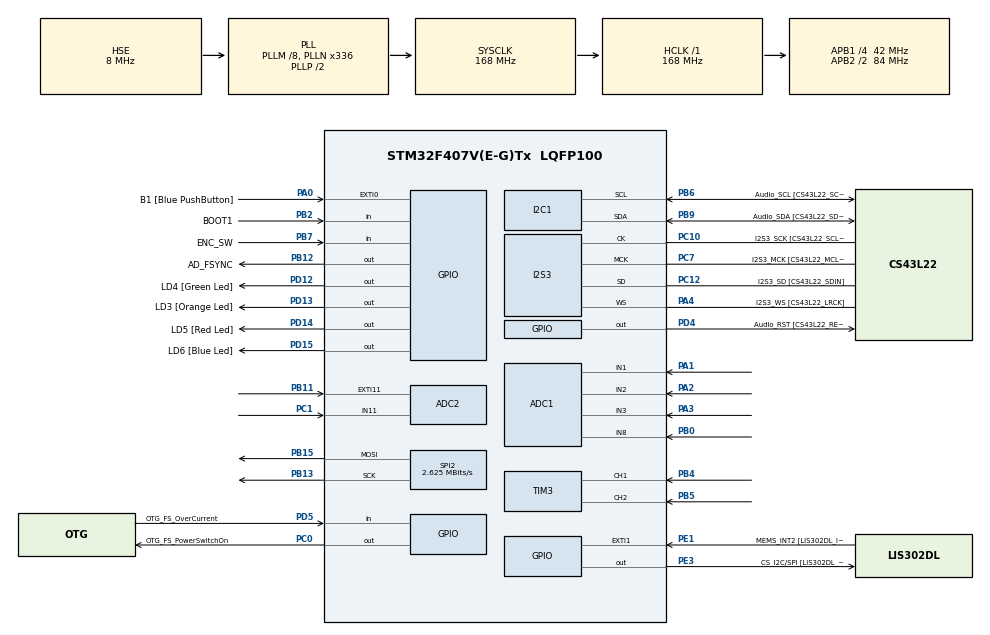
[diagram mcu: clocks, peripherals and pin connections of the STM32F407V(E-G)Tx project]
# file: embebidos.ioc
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ADC1.Channel-0\#ChannelRegularConversion=ADC_CHANNEL_1
ADC1.Channel-1\#ChannelRegularConversion=ADC_CHANNEL_2
ADC1.Channel-2\#ChannelRegularConversion=ADC_CHANNEL_3
ADC1.Channel-3\#ChannelRegularConversion=ADC_CHANNEL_8
ADC1.ContinuousConvMode=ENABLE
ADC1.DMAContinuousRequests=ENABLE
ADC1.DiscontinuousConvMode=DISABLE
ADC1.NbrOfConversion=4
ADC1.NbrOfConversionFlag=1
ADC1.Rank-0\#ChannelRegularConversion=1
ADC1.Rank-1\#ChannelRegularConversion=2
ADC1.Rank-2\#ChannelRegularConversion=3
ADC1.Rank-3\#ChannelRegularConversion=4
ADC1.SamplingTime-0\#ChannelRegularConversion=ADC_SAMPLETIME_144CYCLES
ADC1.SamplingTime-1\#ChannelRegularConversion=ADC_SAMPLETIME_144CYCLES
ADC1.SamplingTime-2\#ChannelRegularConversion=ADC_SAMPLETIME_144CYCLES
ADC1.SamplingTime-3\#ChannelRegularConversion=ADC_SAMPLETIME_144CYCLES
ADC1.ScanConvMode=ENABLE
ADC1.master=1
ADC2.Channel-0\#ChannelRegularConversion=ADC_CHANNEL_11
ADC2.DMAContinuousRequests=ENABLE
ADC2.NbrOfConversionFlag=1
ADC2.Rank-0\#ChannelRegularConversion=1
ADC2.SamplingTime-0\#ChannelRegularConversion=ADC_SAMPLETIME_56CYCLES
ADC2.ScanConvMode=DISABLE
Dma.ADC1.0.Direction=DMA_PERIPH_TO_MEMORY
Dma.ADC1.0.FIFOMode=DMA_FIFOMODE_DISABLE
Dma.ADC1.0.Instance=DMA2_Stream0
Dma.ADC1.0.MemDataAlignment=DMA_MDATAALIGN_HALFWORD
Dma.ADC1.0.MemInc=DMA_MINC_ENABLE
Dma.ADC1.0.Mode=DMA_CIRCULAR
Dma.ADC1.0.PeriphDataAlignment=DMA_PDATAALIGN_HALFWORD
Dma.ADC1.0.PeriphInc=DMA_PINC_DISABLE
Dma.ADC1.0.Priority=DMA_PRIORITY_LOW
Dma.ADC2.2.Direction=DMA_PERIPH_TO_MEMORY
Dma.ADC2.2.FIFOMode=DMA_FIFOMODE_DISABLE
Dma.ADC2.2.Instance=DMA2_Stream2
Dma.ADC2.2.MemDataAlignment=DMA_MDATAALIGN_HALFWORD
Dma.ADC2.2.MemInc=DMA_MINC_ENABLE
Dma.ADC2.2.Mode=DMA_CIRCULAR
Dma.ADC2.2.PeriphDataAlignment=DMA_PDATAALIGN_HALFWORD
Dma.ADC2.2.PeriphInc=DMA_PINC_DISABLE
Dma.ADC2.2.Priority=DMA_PRIORITY_LOW
Dma.Request0=ADC1
Dma.Request1=SPI3_TX
Dma.Request2=ADC2
Dma.SPI3_TX.1.Direction=DMA_MEMORY_TO_PERIPH
Dma.SPI3_TX.1.FIFOMode=DMA_FIFOMODE_DISABLE
Dma.SPI3_TX.1.Instance=DMA1_Stream5
Dma.SPI3_TX.1.MemDataAlignment=DMA_MDATAALIGN_HALFWORD
Dma.SPI3_TX.1.MemInc=DMA_MINC_ENABLE
Dma.SPI3_TX.1.Mode=DMA_CIRCULAR
Dma.SPI3_TX.1.PeriphDataAlignment=DMA_PDATAALIGN_HALFWORD
Dma.SPI3_TX.1.PeriphInc=DMA_PINC_DISABLE
Dma.SPI3_TX.1.Priority=DMA_PRIORITY_LOW
FREERTOS.Tasks01=defaultTask,24,512,StartDefaultTask,Default,NULL,Dynamic,NULL,NULL
I2S3.AudioFreq=I2S_AUDIOFREQ_48K
I2S3.ErrorAudioFreq=-2.34 %
I2S3.FullDuplexMode=I2S_FULLDUPLEXMODE_DISABLE
I2S3.Instance=SPI$Index
I2S3.RealAudioFreq=46.875 KHz
I2S3.VirtualMode=I2S_MODE_MASTER
Mcu.Family=STM32F4
Mcu.Name=STM32F407V(E-G)Tx
Mcu.Package=LQFP100
NVIC.DMA1_Stream5_IRQn=true\:5\:0\:false\:false\:true\:true\:false\:true\:true
NVIC.DMA2_Stream0_IRQn=true\:5\:0\:false\:false\:true\:true\:false\:true\:true
NVIC.DMA2_Stream2_IRQn=true\:5\:0\:false\:false\:true\:true\:false\:true\:true
NVIC.PriorityGroup=NVIC_PRIORITYGROUP_4
NVIC.TIM6_DAC_IRQn=true\:15\:0\:false\:false\:true\:false\:false\:true\:true
NVIC.TimeBase=TIM6_DAC_IRQn
NVIC.TimeBaseIP=TIM6
PA0-WKUP.GPIO_Label=B1 [Blue PushButton]
PA0-WKUP.Signal=GPXTI0
PA1.Signal=ADCx_IN1
PA10.GPIO_Label=OTG_FS_ID
PA10.GPIO_Mode=GPIO_MODE_AF_PP
PA10.GPIO_PuPd=GPIO_NOPULL
PA10.GPIO_Speed=GPIO_SPEED_FREQ_LOW
PA10.Signal=USB_OTG_FS_ID
PA11.GPIO_Label=OTG_FS_DM
PA11.GPIO_Mode=GPIO_MODE_AF_PP
PA11.GPIO_PuPd=GPIO_NOPULL
PA11.GPIO_Speed=GPIO_SPEED_FREQ_LOW
PA11.Signal=USB_OTG_FS_DM
PA12.GPIO_Label=OTG_FS_DP
PA12.GPIO_Mode=GPIO_MODE_AF_PP
PA12.GPIO_PuPd=GPIO_NOPULL
PA12.GPIO_Speed=GPIO_SPEED_FREQ_LOW
PA12.Signal=USB_OTG_FS_DP
PA13.GPIO_Label=SWDIO
PA13.Mode=Serial_Wire
PA13.Signal=SYS_JTMS-SWDIO
PA14.GPIO_Label=SWCLK
PA14.Mode=Serial_Wire
PA14.Signal=SYS_JTCK-SWCLK
PA2.Signal=ADCx_IN2
PA3.Signal=ADCx_IN3
PA4.GPIO_Label=I2S3_WS [CS43L22_LRCK]
PA4.GPIO_Mode=GPIO_MODE_AF_PP
PA4.GPIO_PuPd=GPIO_NOPULL
PA4.GPIO_Speed=GPIO_SPEED_FREQ_LOW
PA4.Mode=Half_Duplex_Master
PA4.Signal=I2S3_WS
PA5.GPIO_Label=SPI1_SCK [LIS302DL_SCL/SPC]
PA5.GPIO_Mode=GPIO_MODE_AF_PP
PA5.GPIO_PuPd=GPIO_NOPULL
PA5.GPIO_Speed=GPIO_SPEED_FREQ_LOW
PA5.Signal=SPI1_SCK
PA6.GPIO_Label=SPI1_MISO [LIS302DL_SDO]
PA6.GPIO_Mode=GPIO_MODE_AF_PP
PA6.GPIO_PuPd=GPIO_NOPULL
PA6.GPIO_Speed=GPIO_SPEED_FREQ_LOW
PA6.Signal=SPI1_MISO
PA7.GPIO_Label=SPI1_MOSI [LIS302DL_SDA/SDI/SDO]
PA7.GPIO_Mode=GPIO_MODE_AF_PP
PA7.GPIO_PuPd=GPIO_NOPULL
PA7.GPIO_Speed=GPIO_SPEED_FREQ_LOW
PA7.Signal=SPI1_MOSI
PA9.GPIO_Label=VBUS_FS
PA9.GPIO_Mode=GPIO_MODE_INPUT
PA9.GPIO_PuPd=GPIO_NOPULL
PA9.Signal=USB_OTG_FS_VBUS
PB0.Signal=ADCx_IN8
PB11.Signal=GPXTI11
PB12.GPIO_Label=AD_FSYNC
PB12.PinState=GPIO_PIN_SET
PB12.Signal=GPIO_Output
PB13.Mode=TX_Only_Simplex_Unidirect_Master
PB13.Signal=SPI2_SCK
PB15.Mode=TX_Only_Simplex_Unidirect_Master
PB15.Signal=SPI2_MOSI
PB2.GPIO_Label=BOOT1
PB2.GPIO_Mode=GPIO_MODE_INPUT
PB2.GPIO_PuPd=GPIO_NOPULL
PB2.Signal=GPIO_Input
PB3.GPIO_Label=SWO
PB3.Signal=SYS_JTDO-SWO
PB4.GPIO_PuPd=GPIO_PULLUP
PB4.Signal=S_TIM3_CH1
PB5.GPIO_PuPd=GPIO_PULLUP
PB5.Signal=S_TIM3_CH2
PB6.GPIO_Label=Audio_SCL [CS43L22_SCL]
PB6.GPIO_Mode=GPIO_MODE_AF_OD
PB6.GPIO_PuPd=GPIO_NOPULL
PB6.GPIO_Speed=GPIO_SPEED_FREQ_LOW
PB6.Mode=I2C
PB6.Signal=I2C1_SCL
PB7.GPIO_Label=ENC_SW
PB7.GPIO_PuPd=GPIO_PULLUP
PB7.Signal=GPIO_Input
PB9.GPIO_Label=Audio_SDA [CS43L22_SDA]
PB9.GPIO_Mode=GPIO_MODE_AF_OD
PB9.GPIO_PuPd=GPIO_NOPULL
PB9.GPIO_Speed=GPIO_SPEED_FREQ_LOW
PB9.Mode=I2C
PB9.Signal=I2C1_SDA
PC0.GPIO_Label=OTG_FS_PowerSwitchOn
PC0.GPIO_PuPd=GPIO_NOPULL
PC0.GPIO_Speed=GPIO_SPEED_FREQ_LOW
PC0.PinState=GPIO_PIN_SET
PC0.Signal=GPIO_Output
PC1.Signal=ADCx_IN11
PC10.GPIO_Label=I2S3_SCK [CS43L22_SCLK]
PC10.GPIO_Mode=GPIO_MODE_AF_PP
PC10.GPIO_PuPd=GPIO_NOPULL
PC10.GPIO_Speed=GPIO_SPEED_FREQ_LOW
PC10.Mode=Half_Duplex_Master
PC10.Signal=I2S3_CK
PC12.GPIO_Label=I2S3_SD [CS43L22_SDIN]
PC12.GPIO_Mode=GPIO_MODE_AF_PP
PC12.GPIO_PuPd=GPIO_NOPULL
PC12.GPIO_Speed=GPIO_SPEED_FREQ_LOW
PC12.Mode=Half_Duplex_Master
PC12.Signal=I2S3_SD
PC14-OSC32_IN.GPIO_Label=PC14-OSC32_IN
PC14-OSC32_IN.Signal=RCC_OSC32_IN
PC15-OSC32_OUT.GPIO_Label=PC15-OSC32_OUT
PC15-OSC32_OUT.Signal=RCC_OSC32_OUT
PC7.GPIO_Label=I2S3_MCK [CS43L22_MCLK]
PC7.GPIO_Mode=GPIO_MODE_AF_PP
PC7.GPIO_PuPd=GPIO_NOPULL
PC7.GPIO_Speed=GPIO_SPEED_FREQ_LOW
PC7.Mode=Master_Clock_Activated
PC7.Signal=I2S3_MCK
PD12.GPIO_Label=LD4 [Green Led]
PD12.GPIO_PuPd=GPIO_NOPULL
PD12.GPIO_Speed=GPIO_SPEED_FREQ_LOW
PD12.Signal=GPIO_Output
PD13.GPIO_Label=LD3 [Orange Led]
PD13.GPIO_PuPd=GPIO_NOPULL
PD13.GPIO_Speed=GPIO_SPEED_FREQ_LOW
PD13.Signal=GPIO_Output
PD14.GPIO_Label=LD5 [Red Led]
PD14.GPIO_PuPd=GPIO_NOPULL
PD14.GPIO_Speed=GPIO_SPEED_FREQ_LOW
PD14.Signal=GPIO_Output
PD15.GPIO_Label=LD6 [Blue Led]
PD15.GPIO_PuPd=GPIO_NOPULL
PD15.GPIO_Speed=GPIO_SPEED_FREQ_LOW
PD15.Signal=GPIO_Output
PD4.GPIO_Label=Audio_RST [CS43L22_RESET]
PD4.GPIO_PuPd=GPIO_NOPULL
PD4.GPIO_Speed=GPIO_SPEED_FREQ_LOW
PD4.Signal=GPIO_Output
PD5.GPIO_Label=OTG_FS_OverCurrent
PD5.GPIO_Mode=GPIO_MODE_INPUT
PD5.GPIO_PuPd=GPIO_NOPULL
PD5.Signal=GPIO_Input
PE1.GPIO_Label=MEMS_INT2 [LIS302DL_INT2]
PE1.GPIO_ModeDefaultEXTI=GPIO_MODE_EVT_RISING
PE1.GPIO_PuPd=GPIO_NOPULL
PE1.Signal=GPXTI1
PE3.GPIO_Label=CS_I2C/SPI [LIS302DL_CS_I2C/SPI]
PE3.GPIO_PuPd=GPIO_NOPULL
PE3.GPIO_Speed=GPIO_SPEED_FREQ_LOW
PE3.Signal=GPIO_Output
PH0-OSC_IN.GPIO_Label=PH0-OSC_IN
PH0-OSC_IN.Mode=HSE-External-Oscillator
PH0-OSC_IN.Signal=RCC_OSC_IN
PH1-OSC_OUT.GPIO_Label=PH1-OSC_OUT
PH1-OSC_OUT.Mode=HSE-External-Oscillator
PH1-OSC_OUT.Signal=RCC_OSC_OUT
ProjectManager.HeapSize=0x200
ProjectManager.StackSize=0x400
ProjectManager.TargetToolchain=CMake
RCC.48MHZClocksFreq_Value=48000000
RCC.AHBFreq_Value=168000000
RCC.APB1CLKDivider=RCC_HCLK_DIV4
RCC.APB1Freq_Value=42000000
RCC.APB1TimFreq_Value=84000000
RCC.APB2CLKDivider=RCC_HCLK_DIV2
RCC.APB2Freq_Value=84000000
RCC.APB2TimFreq_Value=168000000
RCC.CortexFreq_Value=168000000
RCC.HCLKFreq_Value=168000000
RCC.HSE_VALUE=8000000
RCC.HSI_VALUE=16000000
RCC.LSE_VALUE=32768
RCC.PLLM=8
RCC.PLLN=336
RCC.PLLQ=7
RCC.PLLSourceVirtual=RCC_PLLSOURCE_HSE
RCC.SYSCLKFreq_VALUE=168000000
RCC.SYSCLKSource=RCC_SYSCLKSOURCE_PLLCLK
RCC.VCOOutputFreq_Value=336000000
SH.ADCx_IN1.0=ADC1_IN1,IN1
SH.ADCx_IN11.0=ADC2_IN11,IN11
SH.ADCx_IN2.0=ADC1_IN2,IN2
SH.ADCx_IN3.0=ADC1_IN3,IN3
SH.ADCx_IN8.0=ADC1_IN8,IN8
SH.S_TIM3_CH1.0=TIM3_CH1,Encoder_Interface
SH.S_TIM3_CH2.0=TIM3_CH2,Encoder_Interface
SPI2.BaudRatePrescaler=SPI_BAUDRATEPRESCALER_16
SPI2.CLKPolarity=SPI_POLARITY_HIGH
SPI2.CalculateBaudRate=2.625 MBits/s
SPI2.DataSize=SPI_DATASIZE_16BIT
SPI2.Direction=SPI_DIRECTION_2LINES
SPI2.Mode=SPI_MODE_MASTER
SPI2.VirtualType=VM_MASTER
TIM3.EncoderMode=TIM_ENCODERMODE_TI12
TIM3.IC1Filter=10
TIM3.IC2Filter=10
VP_FREERTOS_VS_CMSIS_V2.Mode=CMSIS_V2
VP_SYS_VS_tim6.Mode=TIM6
board=STM32F407G-DISC1

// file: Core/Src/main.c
/* USER CODE BEGIN Header */
/**
  ******************************************************************************
  * @file           : main.c
  * @brief          : Main program body
  ******************************************************************************
  * @attention
  *
  * Copyright (c) 2026 STMicroelectronics.
  * All rights reserved.
  *
  * This software is licensed under terms that can be found in the LICENSE file
  * in the root directory of this software component.
  * If no LICENSE file comes with this software, it is provided AS-IS.
  *
  ******************************************************************************
  */
/* USER CODE END Header */
#include "main.h"
#include "cmsis_os.h"

/* USER CODE BEGIN Includes */
#include <math.h>

/* USER CODE END Includes */

/* USER CODE BEGIN PD */
#define AUDIO_FS     48000.0f    // frecuencia de muestreo
#define AUDIO_BLOCK  128         // frames estéreo por cada mitad del buffer
#define AUDIO_AMP    8000.0f     // amplitud (~25% de la escala de int16) para no saturar
#define TWO_PI       6.28318530718f
#define CS43L22_ADDR (0x4A << 1)
#define IN_GAIN      16.0f       // ganancia de la entrada: ~430 cuentas de amplitud → ~7000
/* USER CODE END PD */

ADC_HandleTypeDef hadc1;
ADC_HandleTypeDef hadc2;
DMA_HandleTypeDef hdma_adc1;
DMA_HandleTypeDef hdma_adc2;

I2C_HandleTypeDef hi2c1;

I2S_HandleTypeDef hi2s3;
DMA_HandleTypeDef hdma_spi3_tx;

SPI_HandleTypeDef hspi2;

TIM_HandleTypeDef htim3;

/* Definitions for defaultTask */
osThreadId_t defaultTaskHandle;
const osThreadAttr_t defaultTask_attributes = {
  .name = "defaultTask",
  .stack_size = 512 * 4,
  .priority = (osPriority_t) osPriorityNormal,
};
/* USER CODE BEGIN PV */
volatile uint16_t adc_in[AUDIO_BLOCK * 2];   // entrada mono: 2 mitades × 128 muestras
float in_dc = 500.0f;               // estimación del nivel DC de la entrada (cuentas del ADC)
//pq dentro de PV?
// global: el DMA escribe aquí continuamente, debe existir siempre (no en el stack)
// volatile: la modifica el hardware, el compilador no debe asumir que no cambia
volatile uint16_t pots[4];
int16_t audio_buf[AUDIO_BLOCK * 2 * 2];   // 2 mitades × 128 frames × 2 canales = 512
volatile float audio_freq = 440.0f;       // frecuencia de la sinusoide generada en el MCU
float audio_phase = 0.0f;                 // fase acumulada, en radianes
volatile float flt_g = 1.0f;   // coeficiente de cada etapa (0..1), lo calcula la tarea
volatile float flt_k = 2.5f;   // resonancia (0..~3.9); fija por ahora (el pot 3 está desconectado)
/* USER CODE END PV */

void SystemClock_Config(void);
static void MX_GPIO_Init(void);
static void MX_DMA_Init(void);
static void MX_I2C1_Init(void);
static void MX_ADC1_Init(void);
static void MX_SPI2_Init(void);
static void MX_TIM3_Init(void);
static void MX_I2S3_Init(void);
static void MX_ADC2_Init(void);
void StartDefaultTask(void *argument);

/* USER CODE BEGIN 0 */
#define AD9833_MCLK 25000000.0f
//Envía una palabra de 16 bits: baja FSYNC, transmite por SPI2 y sube FSYNC. Las otras dos la usan.
static void ad9833_write(uint16_t w) {
  HAL_GPIO_WritePin(AD_FSYNC_GPIO_Port, AD_FSYNC_Pin, GPIO_PIN_RESET);
  HAL_SPI_Transmit(&hspi2, (uint8_t *)&w, 1, 10);
  HAL_GPIO_WritePin(AD_FSYNC_GPIO_Port, AD_FSYNC_Pin, GPIO_PIN_SET);
}
//Calcula el registro de 28 bits (f · 2²⁸ / 25 MHz) y lo envía en dos palabras de 14 bits a FREQ0
static void ad9833_set_freq(float f) {
  uint32_t reg = (uint32_t)(f * 268435456.0f / AD9833_MCLK);
  ad9833_write(0x4000 | (reg & 0x3FFF));
  ad9833_write(0x4000 | ((reg >> 14) & 0x3FFF));
}
//La secuencia de arranque del datasheet: reset, frecuencia, fase y salida del reset con sinusoide
static void ad9833_init(float f) {
  ad9833_write(0x2100);
  ad9833_set_freq(f);
  ad9833_write(0xC000);
  ad9833_write(0x2000);
}
static void ad9833_set_wave(uint16_t ctrl) {
  ad9833_write(ctrl);
}

// --- CS43L22 ---
static void cs43l22_write(uint8_t reg, uint8_t val) {
  HAL_I2C_Mem_Write(&hi2c1, CS43L22_ADDR, reg, I2C_MEMADD_SIZE_8BIT, &val, 1, 100);
}
static uint8_t cs43l22_read(uint8_t reg) {
  uint8_t val = 0;
  HAL_I2C_Mem_Read(&hi2c1, CS43L22_ADDR, reg, I2C_MEMADD_SIZE_8BIT, &val, 1, 100);
  return val;
}
// Configura el códec y lo deja apagado; se enciende después de arrancar los relojes I2S
static void cs43l22_init(void) {
  cs43l22_write(0x02, 0x01);                          // Power Ctl 1: apagado mientras se configura
  // "Required Initialization Settings" del datasheet (registros obligatorios)
  cs43l22_write(0x00, 0x99);
  cs43l22_write(0x47, 0x80);
  cs43l22_write(0x32, cs43l22_read(0x32) | 0x80);
  cs43l22_write(0x32, cs43l22_read(0x32) & ~0x80);
  cs43l22_write(0x00, 0x00);
  cs43l22_write(0x04, 0xAF);                          // Power Ctl 2: audífonos ON, parlante interno OFF
  cs43l22_write(0x05, 0x80);                          // Clocking: auto-detección de MCLK
  cs43l22_write(0x06, 0x04);                          // Interface Ctl 1: esclavo, formato I2S
}

//generacion audio

// Satura un float al rango de int16 (evita que se "dé vuelta" al pasar de 32767)
static int16_t sat16(float x) {
  if (x >  32767.0f) return  32767;
  if (x < -32768.0f) return -32768;
  return (int16_t)x;
}

// Copia un bloque desde el ADC2, lo pasa por el filtro ladder y lo envía al I2S
static void audio_from_adc(int16_t *dst) {
  static float y1 = 0, y2 = 0, y3 = 0, y4 = 0;   // estado de las 4 etapas (persiste entre bloques)

  uint32_t wpos = AUDIO_BLOCK * 2 - __HAL_DMA_GET_COUNTER(&hdma_adc2);
  const volatile uint16_t *src = (wpos < AUDIO_BLOCK) ? &adc_in[AUDIO_BLOCK] : &adc_in[0];

  float g = flt_g, k = flt_k;                    // copia local: no cambian a mitad del bloque

  for (uint32_t i = 0; i < AUDIO_BLOCK; i++) {
    float x = (float)src[i];
    in_dc += 0.0005f * (x - in_dc);
    float in = (x - in_dc) * IN_GAIN / 32768.0f; // señal normalizada a ±1

    float u = in - k * y4;                       // realimentación
    u = u / (1.0f + fabsf(u));                   // soft clip
    y1 += g * (u  - y1);                         // 4 etapas de un polo en cascada
    y2 += g * (y1 - y2);
    y3 += g * (y2 - y3);
    y4 += g * (y3 - y4);

    float out = y4 * (1.0f + 0.5f * k);          // compensa la pérdida de volumen por la resonancia
    int16_t s = sat16(out * 32768.0f);
    dst[2 * i]     = s;
    dst[2 * i + 1] = s;
  }
}
/* USER CODE END 0 */

int main(void)
{

  /* MCU Configuration--------------------------------------------------------*/

  /* Reset of all peripherals, Initializes the Flash interface and the Systick. */
  HAL_Init();

  /* Configure the system clock */
  SystemClock_Config();

  /* Initialize all configured peripherals */
  MX_GPIO_Init();
  MX_DMA_Init();
  MX_I2C1_Init();
  MX_ADC1_Init();
  MX_SPI2_Init();
  MX_TIM3_Init();
  MX_I2S3_Init();
  MX_ADC2_Init();
  /* USER CODE BEGIN 2 */
  // ADC1: scan continuo; el DMA copia los 4 canales a pots[] en circulo
  HAL_ADC_Start_DMA(&hadc1, (uint32_t *)pots, 4);
  // apaga las interrupciones de mitad/fin del DMA del ADC (no se usan)
  __HAL_DMA_DISABLE_IT(&hdma_adc1, DMA_IT_TC | DMA_IT_HT);
  // encoder: TIM3 cuenta los pasos por hardware
  HAL_TIM_Encoder_Start(&htim3, TIM_CHANNEL_ALL);
  // CS43L22: sale del reset (PD4 en alto) y espera a que arranque
  HAL_GPIO_WritePin(Audio_RST_GPIO_Port, Audio_RST_Pin, GPIO_PIN_SET);
  HAL_Delay(10);
  cs43l22_init();                                        // configura el códec (apagado)
  // ADC2: espera los disparos de WS; el DMA llena adc_in[] en círculo
  HAL_ADC_Start_DMA(&hadc2, (uint32_t *)adc_in, AUDIO_BLOCK * 2);
  __HAL_DMA_DISABLE_IT(&hdma_adc2, DMA_IT_TC | DMA_IT_HT);   // la sincronización la hace el I2S
  // I2S: arranca relojes y DMA (audio_buf parte en ceros = silencio)
  HAL_I2S_Transmit_DMA(&hi2s3, (uint16_t *)audio_buf, AUDIO_BLOCK * 2 * 2);
  cs43l22_write(0x02, 0x9E);                             // encender el códec con MCLK presente                           // Power Ctl 1: encender, ya con MCLK presente
  /* USER CODE END 2 */

  /* Init scheduler */
  osKernelInitialize();

  /* Create the thread(s) */
  /* creation of defaultTask */
  defaultTaskHandle = osThreadNew(StartDefaultTask, NULL, &defaultTask_attributes);

  /* Start scheduler */
  osKernelStart();

  /* We should never get here as control is now taken by the scheduler */

  /* Infinite loop */
  while (1)
  {

  }
}

void SystemClock_Config(void)
{
  RCC_OscInitTypeDef RCC_OscInitStruct = {0};
  RCC_ClkInitTypeDef RCC_ClkInitStruct = {0};

  /** Configure the main internal regulator output voltage
  */
  __HAL_RCC_PWR_CLK_ENABLE();
  __HAL_PWR_VOLTAGESCALING_CONFIG(PWR_REGULATOR_VOLTAGE_SCALE1);

  /** Initializes the RCC Oscillators according to the specified parameters
  * in the RCC_OscInitTypeDef structure.
  */
  RCC_OscInitStruct.OscillatorType = RCC_OSCILLATORTYPE_HSE;
  RCC_OscInitStruct.HSEState = RCC_HSE_ON;
  RCC_OscInitStruct.PLL.PLLState = RCC_PLL_ON;
  RCC_OscInitStruct.PLL.PLLSource = RCC_PLLSOURCE_HSE;
  RCC_OscInitStruct.PLL.PLLM = 8;
  RCC_OscInitStruct.PLL.PLLN = 336;
  RCC_OscInitStruct.PLL.PLLP = RCC_PLLP_DIV2;
  RCC_OscInitStruct.PLL.PLLQ = 7;
  if (HAL_RCC_OscConfig(&RCC_OscInitStruct) != HAL_OK)
  {
    Error_Handler();
  }

  /** Initializes the CPU, AHB and APB buses clocks
  */
  RCC_ClkInitStruct.ClockType = RCC_CLOCKTYPE_HCLK|RCC_CLOCKTYPE_SYSCLK
                              |RCC_CLOCKTYPE_PCLK1|RCC_CLOCKTYPE_PCLK2;
  RCC_ClkInitStruct.SYSCLKSource = RCC_SYSCLKSOURCE_PLLCLK;
  RCC_ClkInitStruct.AHBCLKDivider = RCC_SYSCLK_DIV1;
  RCC_ClkInitStruct.APB1CLKDivider = RCC_HCLK_DIV4;
  RCC_ClkInitStruct.APB2CLKDivider = RCC_HCLK_DIV2;

  if (HAL_RCC_ClockConfig(&RCC_ClkInitStruct, FLASH_LATENCY_5) != HAL_OK)
  {
    Error_Handler();
  }
}

static void MX_ADC1_Init(void)
{

  ADC_ChannelConfTypeDef sConfig = {0};

  /** Configure the global features of the ADC (Clock, Resolution, Data Alignment and number of conversion)
  */
  hadc1.Instance = ADC1;
  hadc1.Init.ClockPrescaler = ADC_CLOCK_SYNC_PCLK_DIV4;
  hadc1.Init.Resolution = ADC_RESOLUTION_12B;
  hadc1.Init.ScanConvMode = ENABLE;
  hadc1.Init.ContinuousConvMode = ENABLE;
  hadc1.Init.DiscontinuousConvMode = DISABLE;
  hadc1.Init.ExternalTrigConvEdge = ADC_EXTERNALTRIGCONVEDGE_NONE;
  hadc1.Init.ExternalTrigConv = ADC_SOFTWARE_START;
  hadc1.Init.DataAlign = ADC_DATAALIGN_RIGHT;
  hadc1.Init.NbrOfConversion = 4;
  hadc1.Init.DMAContinuousRequests = ENABLE;
  hadc1.Init.EOCSelection = ADC_EOC_SINGLE_CONV;
  if (HAL_ADC_Init(&hadc1) != HAL_OK)
  {
    Error_Handler();
  }

  /** Configure for the selected ADC regular channel its corresponding rank in the sequencer and its sample time.
  */
  sConfig.Channel = ADC_CHANNEL_1;
  sConfig.Rank = 1;
  sConfig.SamplingTime = ADC_SAMPLETIME_144CYCLES;
  if (HAL_ADC_ConfigChannel(&hadc1, &sConfig) != HAL_OK)
  {
    Error_Handler();
  }

  /** Configure for the selected ADC regular channel its corresponding rank in the sequencer and its sample time.
  */
  sConfig.Channel = ADC_CHANNEL_2;
  sConfig.Rank = 2;
  if (HAL_ADC_ConfigChannel(&hadc1, &sConfig) != HAL_OK)
  {
    Error_Handler();
  }

  /** Configure for the selected ADC regular channel its corresponding rank in the sequencer and its sample time.
  */
  sConfig.Channel = ADC_CHANNEL_3;
  sConfig.Rank = 3;
  if (HAL_ADC_ConfigChannel(&hadc1, &sConfig) != HAL_OK)
  {
    Error_Handler();
  }

  /** Configure for the selected ADC regular channel its corresponding rank in the sequencer and its sample time.
  */
  sConfig.Channel = ADC_CHANNEL_8;
  sConfig.Rank = 4;
  if (HAL_ADC_ConfigChannel(&hadc1, &sConfig) != HAL_OK)
  {
    Error_Handler();
  }

}

static void MX_ADC2_Init(void)
{

  ADC_ChannelConfTypeDef sConfig = {0};

  /** Configure the global features of the ADC (Clock, Resolution, Data Alignment and number of conversion)
  */
  hadc2.Instance = ADC2;
  hadc2.Init.ClockPrescaler = ADC_CLOCK_SYNC_PCLK_DIV4;
  hadc2.Init.Resolution = ADC_RESOLUTION_12B;
  hadc2.Init.ScanConvMode = DISABLE;
  hadc2.Init.ContinuousConvMode = DISABLE;
  hadc2.Init.DiscontinuousConvMode = DISABLE;
  hadc2.Init.ExternalTrigConvEdge = ADC_EXTERNALTRIGCONVEDGE_RISING;
  hadc2.Init.ExternalTrigConv = ADC_EXTERNALTRIGCONV_Ext_IT11;
  hadc2.Init.DataAlign = ADC_DATAALIGN_RIGHT;
  hadc2.Init.NbrOfConversion = 1;
  hadc2.Init.DMAContinuousRequests = ENABLE;
  hadc2.Init.EOCSelection = ADC_EOC_SINGLE_CONV;
  if (HAL_ADC_Init(&hadc2) != HAL_OK)
  {
    Error_Handler();
  }

  /** Configure for the selected ADC regular channel its corresponding rank in the sequencer and its sample time.
  */
  sConfig.Channel = ADC_CHANNEL_11;
  sConfig.Rank = 1;
  sConfig.SamplingTime = ADC_SAMPLETIME_56CYCLES;
  if (HAL_ADC_ConfigChannel(&hadc2, &sConfig) != HAL_OK)
  {
    Error_Handler();
  }

}

static void MX_I2C1_Init(void)
{

  hi2c1.Instance = I2C1;
  hi2c1.Init.ClockSpeed = 100000;
  hi2c1.Init.DutyCycle = I2C_DUTYCYCLE_2;
  hi2c1.Init.OwnAddress1 = 0;
  hi2c1.Init.AddressingMode = I2C_ADDRESSINGMODE_7BIT;
  hi2c1.Init.DualAddressMode = I2C_DUALADDRESS_DISABLE;
  hi2c1.Init.OwnAddress2 = 0;
  hi2c1.Init.GeneralCallMode = I2C_GENERALCALL_DISABLE;
  hi2c1.Init.NoStretchMode = I2C_NOSTRETCH_DISABLE;
  if (HAL_I2C_Init(&hi2c1) != HAL_OK)
  {
    Error_Handler();
  }

}

static void MX_I2S3_Init(void)
{

  hi2s3.Instance = SPI3;
  hi2s3.Init.Mode = I2S_MODE_MASTER_TX;
  hi2s3.Init.Standard = I2S_STANDARD_PHILIPS;
  hi2s3.Init.DataFormat = I2S_DATAFORMAT_16B;
  hi2s3.Init.MCLKOutput = I2S_MCLKOUTPUT_ENABLE;
  hi2s3.Init.AudioFreq = I2S_AUDIOFREQ_48K;
  hi2s3.Init.CPOL = I2S_CPOL_LOW;
  hi2s3.Init.ClockSource = I2S_CLOCK_PLL;
  hi2s3.Init.FullDuplexMode = I2S_FULLDUPLEXMODE_DISABLE;
  if (HAL_I2S_Init(&hi2s3) != HAL_OK)
  {
    Error_Handler();
  }

}

static void MX_SPI2_Init(void)
{

  /* SPI2 parameter configuration*/
  hspi2.Instance = SPI2;
  hspi2.Init.Mode = SPI_MODE_MASTER;
  hspi2.Init.Direction = SPI_DIRECTION_2LINES;
  hspi2.Init.DataSize = SPI_DATASIZE_16BIT;
  hspi2.Init.CLKPolarity = SPI_POLARITY_HIGH;
  hspi2.Init.CLKPhase = SPI_PHASE_1EDGE;
  hspi2.Init.NSS = SPI_NSS_SOFT;
  hspi2.Init.BaudRatePrescaler = SPI_BAUDRATEPRESCALER_16;
  hspi2.Init.FirstBit = SPI_FIRSTBIT_MSB;
  hspi2.Init.TIMode = SPI_TIMODE_DISABLE;
  hspi2.Init.CRCCalculation = SPI_CRCCALCULATION_DISABLE;
  hspi2.Init.CRCPolynomial = 10;
  if (HAL_SPI_Init(&hspi2) != HAL_OK)
  {
    Error_Handler();
  }

}

static void MX_TIM3_Init(void)
{

  TIM_Encoder_InitTypeDef sConfig = {0};
  TIM_MasterConfigTypeDef sMasterConfig = {0};

  htim3.Instance = TIM3;
  htim3.Init.Prescaler = 0;
  htim3.Init.CounterMode = TIM_COUNTERMODE_UP;
  htim3.Init.Period = 65535;
  htim3.Init.ClockDivision = TIM_CLOCKDIVISION_DIV1;
  htim3.Init.AutoReloadPreload = TIM_AUTORELOAD_PRELOAD_DISABLE;
  sConfig.EncoderMode = TIM_ENCODERMODE_TI12;
  sConfig.IC1Polarity = TIM_ICPOLARITY_RISING;
  sConfig.IC1Selection = TIM_ICSELECTION_DIRECTTI;
  sConfig.IC1Prescaler = TIM_ICPSC_DIV1;
  sConfig.IC1Filter = 10;
  sConfig.IC2Polarity = TIM_ICPOLARITY_RISING;
  sConfig.IC2Selection = TIM_ICSELECTION_DIRECTTI;
  sConfig.IC2Prescaler = TIM_ICPSC_DIV1;
  sConfig.IC2Filter = 10;
  if (HAL_TIM_Encoder_Init(&htim3, &sConfig) != HAL_OK)
  {
    Error_Handler();
  }
  sMasterConfig.MasterOutputTrigger = TIM_TRGO_RESET;
  sMasterConfig.MasterSlaveMode = TIM_MASTERSLAVEMODE_DISABLE;
  if (HAL_TIMEx_MasterConfigSynchronization(&htim3, &sMasterConfig) != HAL_OK)
  {
    Error_Handler();
  }

}

static void MX_DMA_Init(void)
{

  /* DMA controller clock enable */
  __HAL_RCC_DMA2_CLK_ENABLE();
  __HAL_RCC_DMA1_CLK_ENABLE();

  /* DMA interrupt init */
  /* DMA1_Stream5_IRQn interrupt configuration */
  HAL_NVIC_SetPriority(DMA1_Stream5_IRQn, 5, 0);
  HAL_NVIC_EnableIRQ(DMA1_Stream5_IRQn);
  /* DMA2_Stream0_IRQn interrupt configuration */
  HAL_NVIC_SetPriority(DMA2_Stream0_IRQn, 5, 0);
  HAL_NVIC_EnableIRQ(DMA2_Stream0_IRQn);
  /* DMA2_Stream2_IRQn interrupt configuration */
  HAL_NVIC_SetPriority(DMA2_Stream2_IRQn, 5, 0);
  HAL_NVIC_EnableIRQ(DMA2_Stream2_IRQn);

}

static void MX_GPIO_Init(void)
{
  GPIO_InitTypeDef GPIO_InitStruct = {0};

  /* GPIO Ports Clock Enable */
  __HAL_RCC_GPIOE_CLK_ENABLE();
  __HAL_RCC_GPIOC_CLK_ENABLE();
  __HAL_RCC_GPIOH_CLK_ENABLE();
  __HAL_RCC_GPIOA_CLK_ENABLE();
  __HAL_RCC_GPIOB_CLK_ENABLE();
  __HAL_RCC_GPIOD_CLK_ENABLE();

  /*Configure GPIO pin Output Level */
  HAL_GPIO_WritePin(CS_I2C_SPI_GPIO_Port, CS_I2C_SPI_Pin, GPIO_PIN_RESET);

  /*Configure GPIO pin Output Level */
  HAL_GPIO_WritePin(OTG_FS_PowerSwitchOn_GPIO_Port, OTG_FS_PowerSwitchOn_Pin, GPIO_PIN_SET);

  /*Configure GPIO pin Output Level */
  HAL_GPIO_WritePin(AD_FSYNC_GPIO_Port, AD_FSYNC_Pin, GPIO_PIN_SET);

  /*Configure GPIO pin Output Level */
  HAL_GPIO_WritePin(GPIOD, LD4_Pin|LD3_Pin|LD5_Pin|LD6_Pin
                          |Audio_RST_Pin, GPIO_PIN_RESET);

  /*Configure GPIO pin : CS_I2C_SPI_Pin */
  GPIO_InitStruct.Pin = CS_I2C_SPI_Pin;
  GPIO_InitStruct.Mode = GPIO_MODE_OUTPUT_PP;
  GPIO_InitStruct.Pull = GPIO_NOPULL;
  GPIO_InitStruct.Speed = GPIO_SPEED_FREQ_LOW;
  HAL_GPIO_Init(CS_I2C_SPI_GPIO_Port, &GPIO_InitStruct);

  /*Configure GPIO pin : OTG_FS_PowerSwitchOn_Pin */
  GPIO_InitStruct.Pin = OTG_FS_PowerSwitchOn_Pin;
  GPIO_InitStruct.Mode = GPIO_MODE_OUTPUT_PP;
  GPIO_InitStruct.Pull = GPIO_NOPULL;
  GPIO_InitStruct.Speed = GPIO_SPEED_FREQ_LOW;
  HAL_GPIO_Init(OTG_FS_PowerSwitchOn_GPIO_Port, &GPIO_InitStruct);

  /*Configure GPIO pin : B1_Pin */
  GPIO_InitStruct.Pin = B1_Pin;
  GPIO_InitStruct.Mode = GPIO_MODE_IT_RISING;
  GPIO_InitStruct.Pull = GPIO_NOPULL;
  HAL_GPIO_Init(B1_GPIO_Port, &GPIO_InitStruct);

  /*Configure GPIO pins : SPI1_SCK_Pin SPI1_MISO_Pin SPI1_MOSI_Pin */
  GPIO_InitStruct.Pin = SPI1_SCK_Pin|SPI1_MISO_Pin|SPI1_MOSI_Pin;
  GPIO_InitStruct.Mode = GPIO_MODE_AF_PP;
  GPIO_InitStruct.Pull = GPIO_NOPULL;
  GPIO_InitStruct.Speed = GPIO_SPEED_FREQ_LOW;
  GPIO_InitStruct.Alternate = GPIO_AF5_SPI1;
  HAL_GPIO_Init(GPIOA, &GPIO_InitStruct);

  /*Configure GPIO pin : BOOT1_Pin */
  GPIO_InitStruct.Pin = BOOT1_Pin;
  GPIO_InitStruct.Mode = GPIO_MODE_INPUT;
  GPIO_InitStruct.Pull = GPIO_NOPULL;
  HAL_GPIO_Init(BOOT1_GPIO_Port, &GPIO_InitStruct);

  /*Configure GPIO pin : PB11 */
  GPIO_InitStruct.Pin = GPIO_PIN_11;
  GPIO_InitStruct.Mode = GPIO_MODE_IT_RISING;
  GPIO_InitStruct.Pull = GPIO_NOPULL;
  HAL_GPIO_Init(GPIOB, &GPIO_InitStruct);

  /*Configure GPIO pin : AD_FSYNC_Pin */
  GPIO_InitStruct.Pin = AD_FSYNC_Pin;
  GPIO_InitStruct.Mode = GPIO_MODE_OUTPUT_PP;
  GPIO_InitStruct.Pull = GPIO_NOPULL;
  GPIO_InitStruct.Speed = GPIO_SPEED_FREQ_LOW;
  HAL_GPIO_Init(AD_FSYNC_GPIO_Port, &GPIO_InitStruct);

  /*Configure GPIO pins : LD4_Pin LD3_Pin LD5_Pin LD6_Pin
                           Audio_RST_Pin */
  GPIO_InitStruct.Pin = LD4_Pin|LD3_Pin|LD5_Pin|LD6_Pin
                          |Audio_RST_Pin;
  GPIO_InitStruct.Mode = GPIO_MODE_OUTPUT_PP;
  GPIO_InitStruct.Pull = GPIO_NOPULL;
  GPIO_InitStruct.Speed = GPIO_SPEED_FREQ_LOW;
  HAL_GPIO_Init(GPIOD, &GPIO_InitStruct);

  /*Configure GPIO pin : VBUS_FS_Pin */
  GPIO_InitStruct.Pin = VBUS_FS_Pin;
  GPIO_InitStruct.Mode = GPIO_MODE_INPUT;
  GPIO_InitStruct.Pull = GPIO_NOPULL;
  HAL_GPIO_Init(VBUS_FS_GPIO_Port, &GPIO_InitStruct);

  /*Configure GPIO pins : OTG_FS_ID_Pin OTG_FS_DM_Pin OTG_FS_DP_Pin */
  GPIO_InitStruct.Pin = OTG_FS_ID_Pin|OTG_FS_DM_Pin|OTG_FS_DP_Pin;
  GPIO_InitStruct.Mode = GPIO_MODE_AF_PP;
  GPIO_InitStruct.Pull = GPIO_NOPULL;
  GPIO_InitStruct.Speed = GPIO_SPEED_FREQ_LOW;
  GPIO_InitStruct.Alternate = GPIO_AF10_OTG_FS;
  HAL_GPIO_Init(GPIOA, &GPIO_InitStruct);

  /*Configure GPIO pin : OTG_FS_OverCurrent_Pin */
  GPIO_InitStruct.Pin = OTG_FS_OverCurrent_Pin;
  GPIO_InitStruct.Mode = GPIO_MODE_INPUT;
  GPIO_InitStruct.Pull = GPIO_NOPULL;
  HAL_GPIO_Init(OTG_FS_OverCurrent_GPIO_Port, &GPIO_InitStruct);

  /*Configure GPIO pin : ENC_SW_Pin */
  GPIO_InitStruct.Pin = ENC_SW_Pin;
  GPIO_InitStruct.Mode = GPIO_MODE_INPUT;
  GPIO_InitStruct.Pull = GPIO_PULLUP;
  HAL_GPIO_Init(ENC_SW_GPIO_Port, &GPIO_InitStruct);

  /*Configure GPIO pin : MEMS_INT2_Pin */
  GPIO_InitStruct.Pin = MEMS_INT2_Pin;
  GPIO_InitStruct.Mode = GPIO_MODE_EVT_RISING;
  GPIO_InitStruct.Pull = GPIO_NOPULL;
  HAL_GPIO_Init(MEMS_INT2_GPIO_Port, &GPIO_InitStruct);

}

/* USER CODE BEGIN 4 */
// El DMA terminó de enviar la mitad A: llenarla con lo que entró por el ADC
void HAL_I2S_TxHalfCpltCallback(I2S_HandleTypeDef *hi2s) {
  audio_from_adc(&audio_buf[0]);
}
// El DMA terminó de enviar la mitad B: llenarla con lo que entró por el ADC
void HAL_I2S_TxCpltCallback(I2S_HandleTypeDef *hi2s) {
  audio_from_adc(&audio_buf[AUDIO_BLOCK * 2]);
}
/* USER CODE END 4 */

void StartDefaultTask(void *argument)
{
  /* USER CODE BEGIN 5 */
  volatile uint8_t found[16] = {0};
  volatile uint8_t n = 0;

  for (uint8_t addr = 0x08; addr < 0x78; addr++) {
    if (HAL_I2C_IsDeviceReady(&hi2c1, addr << 1, 2, 10) == HAL_OK && n < 16) {
      found[n++] = addr;
    }
  }
  //tarea para reconocer lo que se encontro
  //que significa ag y m? -> acelerometro y giroscopio, m magnetometro
  //se usan como databuffer
  volatile uint8_t who_ag = 0, who_m;
  // HAL_StatusTypeDef es un enum que define los estados posibles
  volatile HAL_StatusTypeDef st_ag, st_m;
  // hi2c1 es el struct que se genero en base al i2c generado en stm32x al activarlo y construir el codigo
  //pq se usa I2C_MEMADD_SIZE_8BIT?
  //0x0f se saco
  st_ag = HAL_I2C_Mem_Read(&hi2c1,0x6B << 1 , 0x0F, I2C_MEMADD_SIZE_8BIT, (uint8_t *)&who_ag, 1, 100);
  st_m  = HAL_I2C_Mem_Read(&hi2c1, 0x1E << 1, 0x0F, I2C_MEMADD_SIZE_8BIT, (uint8_t *)&who_m,  1, 100);
  //ahora para prender el acelerometro
  // ODR_XL2 ODR_XL1 ODR_XL0 FS1_XL FS0_XL BW_SCAL_ODR BW_XL1 BW_XL0
  // 0 1 1 0 0 0 0 0
  //ahora separar 4 bytes en 2 cadenas xxxx xxxx y convertirlo en hexadecimal para luego usar HAL_I2C_Mem_Writre
  volatile uint8_t cs_id = 0;
  volatile HAL_StatusTypeDef st_cs;
  //ahora se envia info al chip de audio del mcu
  st_cs = HAL_I2C_Mem_Read(&hi2c1, 0x4A << 1, 0x01, I2C_MEMADD_SIZE_8BIT, (uint8_t *)&cs_id, 1, 100);
  ad9833_init(440.0f);
  uint32_t last = 0xFFFF;
  volatile uint32_t v = 0;
  volatile float f = 0;
  /*pots[0]: frecuencia (curva exponencial)
    pots[1]: cutoff del filtro (exponencial) - reservado, aun sin uso
    pots[2]: resonancia (lineal) - reservado
    pots[3]: mezcla dry/wet del delay (lineal) - reservado
    encoder: forma de onda (seno / triangular / cuadrada), despues menu
  */
  uint8_t wave_last = 0xFF; // ultima forma de onda enviada; 0xFF fuerza el primer envio
  float filt0 = pots[0];
  float filt1 = pots[1];
  for(;;)
  {
    // pots[0]: frecuencia, filtrada con EMA + histeresis de 8 cuentas
    filt0 += 0.1f * ((float)pots[0] - filt0);
    v = (uint32_t)filt0;
    filt1 += 0.1f * ((float)pots[1] - filt1);
    float fc = 30.0f * powf(400.0f, filt1 / 4095.0f);
    flt_g = 1.0f - expf(-TWO_PI * fc / AUDIO_FS);
    if (v > last + 8 || v + 8 < last) {
      last = v;
      f = 20.0f * powf(100.0f, v / 4095.0f); // 20 Hz a 2 kHz, curva exponencial
      ad9833_set_freq(f);
      audio_freq = f;
    }

    // encoder: cada clic avanza la forma de onda (seno -> triangular -> cuadrada -> seno...)
    volatile uint16_t cnt = __HAL_TIM_GET_COUNTER(&htim3);
    int16_t pos = (int16_t)cnt / 4;        // 4 cuentas por cli
    uint8_t wave = ((pos % 3) + 3) % 3;    // siempre 0..2, tambien con pos negativo
    if (wave != wave_last) {
      wave_last = wave;
      static const uint16_t ctrl[3] = { 0x2000, 0x2002, 0x2028 };  // seno, triangular, cuadrada
      ad9833_set_wave(ctrl[wave]);
    }
    osDelay(20);
  }
  /* USER CODE END 5 */
}

void HAL_TIM_PeriodElapsedCallback(TIM_HandleTypeDef *htim)
{
  if (htim->Instance == TIM6)
  {
    HAL_IncTick();
  }
}

void Error_Handler(void)
{
  __disable_irq();
  while (1)
  {
  }
}
